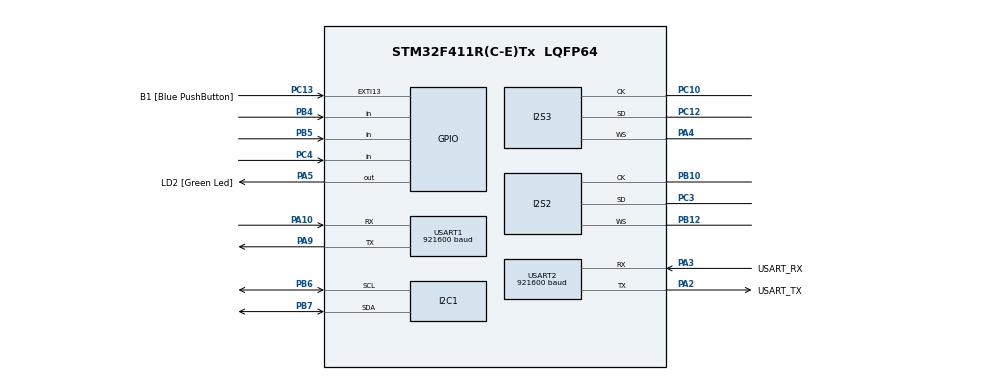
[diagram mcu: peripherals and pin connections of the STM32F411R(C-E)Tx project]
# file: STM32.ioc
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I2S2.AudioFreq=I2S_AUDIOFREQ_16K
I2S2.DataFormat=I2S_DATAFORMAT_24B
I2S2.ErrorAudioFreq=-0.26 %
I2S2.FullDuplexMode=I2S_FULLDUPLEXMODE_DISABLE
I2S2.Instance=SPI$Index
I2S2.Mode=I2S_MODE_MASTER_RX
I2S2.RealAudioFreq=15.957 KHz
I2S2.VirtualMode=I2S_MODE_MASTER
I2S3.AudioFreq=I2S_AUDIOFREQ_16K
I2S3.ErrorAudioFreq=-0.26 %
I2S3.FullDuplexMode=I2S_FULLDUPLEXMODE_DISABLE
I2S3.Instance=SPI$Index
I2S3.RealAudioFreq=15.957 KHz
I2S3.VirtualMode=I2S_MODE_MASTER
Mcu.Family=STM32F4
Mcu.Name=STM32F411R(C-E)Tx
Mcu.Package=LQFP64
NVIC.PriorityGroup=NVIC_PRIORITYGROUP_0
NVIC.USART1_IRQn=true\:0\:0\:false\:false\:true\:true\:true\:true
PA10.Mode=Asynchronous
PA10.Signal=USART1_RX
PA13.GPIO_Label=TMS
PA13.Mode=Serial_Wire
PA13.Signal=SYS_JTMS-SWDIO
PA14.GPIO_Label=TCK
PA14.Mode=Serial_Wire
PA14.Signal=SYS_JTCK-SWCLK
PA2.GPIO_Label=USART_TX
PA2.Mode=Asynchronous
PA2.Signal=USART2_TX
PA3.GPIO_Label=USART_RX
PA3.Mode=Asynchronous
PA3.Signal=USART2_RX
PA4.Mode=Half_Duplex_Master
PA4.Signal=I2S3_WS
PA5.GPIO_Label=LD2 [Green Led]
PA5.Signal=GPIO_Output
PA9.Mode=Asynchronous
PA9.Signal=USART1_TX
PB10.Mode=Half_Duplex_Master
PB10.Signal=I2S2_CK
PB12.Mode=Half_Duplex_Master
PB12.Signal=I2S2_WS
PB3.GPIO_Label=SWO
PB3.Signal=SYS_JTDO-SWO
PB4.Signal=GPIO_Input
PB5.Signal=GPIO_Input
PB6.Mode=I2C
PB6.Signal=I2C1_SCL
PB7.Mode=I2C
PB7.Signal=I2C1_SDA
PC10.Mode=Half_Duplex_Master
PC10.Signal=I2S3_CK
PC12.Mode=Half_Duplex_Master
PC12.Signal=I2S3_SD
PC13-ANTI_TAMP.GPIO_Label=B1 [Blue PushButton]
PC13-ANTI_TAMP.GPIO_ModeDefaultEXTI=GPIO_MODE_IT_FALLING
PC13-ANTI_TAMP.Signal=GPXTI13
PC14-OSC32_IN.Mode=LSE-External-Oscillator
PC14-OSC32_IN.Signal=RCC_OSC32_IN
PC15-OSC32_OUT.Mode=LSE-External-Oscillator
PC15-OSC32_OUT.Signal=RCC_OSC32_OUT
PC3.Mode=Half_Duplex_Master
PC3.Signal=I2S2_SD
PC4.Signal=GPIO_Input
PH0\ -\ OSC_IN.Mode=HSE-External-Clock-Source
PH0\ -\ OSC_IN.Signal=RCC_OSC_IN
PH1\ -\ OSC_OUT.Mode=HSE-External-Clock-Source
PH1\ -\ OSC_OUT.Signal=RCC_OSC_OUT
ProjectManager.HeapSize=0x200
ProjectManager.StackSize=0x400
ProjectManager.TargetToolchain=CMake
RCC.48MHZClocksFreq_Value=84000000
RCC.AHBFreq_Value=84000000
RCC.APB1CLKDivider=RCC_HCLK_DIV2
RCC.APB1Freq_Value=42000000
RCC.APB1TimFreq_Value=84000000
RCC.APB2Freq_Value=84000000
RCC.APB2TimFreq_Value=84000000
RCC.CortexFreq_Value=84000000
RCC.FLatency-AdvancedSettings=FLASH_LATENCY_2
RCC.HCLKFreq_Value=84000000
RCC.HSE_VALUE=8000000
RCC.HSI_VALUE=16000000
RCC.PLLN=336
RCC.PLLP=RCC_PLLP_DIV4
RCC.SYSCLKFreq_VALUE=84000000
RCC.SYSCLKSource=RCC_SYSCLKSOURCE_PLLCLK
RCC.VCOOutputFreq_Value=336000000
USART1.BaudRate=921600
USART1.VirtualMode=VM_ASYNC
USART2.BaudRate=921600
USART2.VirtualMode=VM_ASYNC
board=NUCLEO-F411RE

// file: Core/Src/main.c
/* USER CODE BEGIN Header */
/**
  ******************************************************************************
  * @file           : main.c
  * @brief          : Main program body
  *
  *  MODIFIED FOR AMP TEST:
  *  Streams raw 16-bit stereo PCM audio from a PC over USART2 straight into
  *  the MAX98357 I2S amp (hi2s3 / SPI3) via HAL_I2S_Transmit.
  *
  *  USART2 (PA2/PA3, ST-Link VCP) = binary audio link to PC - NO text/debug
  *  is ever sent on this UART, since any stray bytes would corrupt the
  *  handshake/stream protocol.
  *
  *  USART1 (PA9/PA10) = free for the ESP32 later; used here only for
  *  human-readable debug prints during bring-up.
  *
  *  Protocol (PC -> STM32, over USART2 @ 460800 8N1):
  *    1. PC sends 0xAA                         (handshake)
  *    2. STM32 replies 0x55                    (ready)
  *    3. PC sends 4 bytes little-endian uint32  (total mono sample/frame count)
  *    4. PC streams raw 16-bit STEREO interleaved PCM data,
  *       AUDIO_CHUNK_FRAMES frames per chunk (L,R,L,R,... as uint16_t each)
  *    5. STM32 replies 0x44 ('D') once all frames received/played
  ******************************************************************************
  * @attention
  *
  * Copyright (c) 2026 STMicroelectronics.
  * All rights reserved.
  *
  * This software is licensed under terms that can be found in the LICENSE file
  * in the root directory of this software component.
  * If no LICENSE file comes with this software, it is provided AS-IS.
  *
  ******************************************************************************
  */
/* USER CODE END Header */
#include "main.h"
#include "stm32f4xx_ll_usart.h"
#include "stm32f4xx_ll_utils.h"

/* USER CODE BEGIN Includes */
#include <stdint.h>
#include <stdio.h>
#include <stdbool.h>
#include <sys/_intsup.h>
/* USER CODE END Includes */

I2S_HandleTypeDef hi2s2;
I2S_HandleTypeDef hi2s3;

/* USER CODE BEGIN PV */
#define Ring_Buffer_Size   16384u
static volatile uint8_t  ringBufferRX[Ring_Buffer_Size];
static volatile uint16_t ringBufferRXPointer_RX = 0;
static volatile uint16_t ringBufferRXPointer_TX = 0;

static volatile uint8_t  ringBufferTX[Ring_Buffer_Size];
static volatile uint16_t ringBufferTXPointer_RX = 0;
static volatile uint16_t ringBufferTXPointer_TX = 0;

volatile uint32_t system_ms = 0;
/* USER CODE END PV */

void SystemClock_Config(void);
void PeriphCommonClock_Config(void);
static void MX_GPIO_Init(void);
static void MX_USART2_UART_Init(void);
static void MX_I2S2_Init(void);
static void MX_I2C1_Init(void);
static void MX_I2S3_Init(void);
static void MX_USART1_UART_Init(void);
/* USER CODE BEGIN PFP */

void UART_ISR_Handler(void);
void SYSTICK_IRQ_Handler(void);

/* USER CODE END PFP */

/* USER CODE BEGIN 0 */

//=================================== Time IRQ ========================================
void SYSTICK_IRQ_Handler(void) {
  system_ms++;
}
uint32_t millis(void)
{
  return system_ms;
}
//===================================================================================

//=================================== USART IRQ ========================================
void UART_ISR_Handler(void)
{
  if (LL_USART_IsActiveFlag_RXNE(USART1))
  {
    uint8_t data = LL_USART_ReceiveData8(USART1);
    ringBufferRX[ringBufferRXPointer_RX] = data;
    ringBufferRXPointer_RX++;
    ringBufferRXPointer_RX &= 0x3FFF;
  }

  if (LL_USART_IsActiveFlag_ORE(USART1))
  {
    LL_USART_ClearFlag_ORE(USART1);
  }
}
//===================================================================================

//=================================== Debug ========================================
void USART_SEND_CHAR (USART_TypeDef *USARTx, char *data)
{
  while (*data)
  {
      while (!LL_USART_IsActiveFlag_TXE(USARTx));   // Wait until TX buffer is empty
      LL_USART_TransmitData8(USARTx, *data++);      // Transmit next byte
  }

  while (!LL_USART_IsActiveFlag_TC(USARTx));        // Wait for final transmission to complete
}
void USART_SEND_BYTE (USART_TypeDef *USARTx, uint8_t data)
{
  LL_USART_TransmitData8(USARTx,data);
}
//===================================================================================

//================================== Buttons ========================================
uint8_t btnState = 0;
uint32_t btnDebounce[3] = {0, 0, 0};
bool CHECK_BUTTON_PRESS(GPIO_TypeDef *GPIOx, uint32_t PinMask, uint8_t btnIndex)
{
  if ((millis() - btnDebounce[btnIndex]) < 20)
    return false;

  uint8_t mask = 0x1 << btnIndex;
  bool pressed = (LL_GPIO_IsInputPinSet(GPIOx, PinMask) == 0);

  if (pressed != ((btnState & mask) != 0))
    btnDebounce[btnIndex] = millis();

  bool result = pressed && !(btnState & mask);

  if (pressed)
    btnState |= mask;
  else
    btnState &= ~mask;

  return result;
}
//===================================================================================

/* USER CODE END 0 */

int main(void)
{

  /* MCU Configuration--------------------------------------------------------*/

  /* Reset of all peripherals, Initializes the Flash interface and the Systick. */
  HAL_Init();

  /* Configure the system clock */
  SystemClock_Config();

  /* Configure the peripherals common clocks */
  PeriphCommonClock_Config();

  /* Initialize all configured peripherals */
  MX_GPIO_Init();
  MX_USART2_UART_Init();
  MX_I2S2_Init();
  MX_I2C1_Init();
  MX_I2S3_Init();
  MX_USART1_UART_Init();
  /* USER CODE BEGIN 2 */
  /* Switch USART2 to interrupt-driven RX for the audio link (see the ring
   * buffer + Audio_UART_ISR_Handler() above for why this matters). */
  LL_USART_EnableIT_RXNE(USART1);
  NVIC_SetPriority(USART1_IRQn, 0); /* highest priority - must preempt the
                                      * blocking I2S transmit busy-loop */
  NVIC_EnableIRQ(USART1_IRQn);

  // Debug_SendString("Debug UART OK - Amp streaming test ready\r\n");
  /* USER CODE END 2 */
  ringBufferRXPointer_TX = 0;
  USART_SEND_CHAR(USART2, "Hello from STM32 LL UART!\r\n");
  /* Infinite loop */
  /* USER CODE BEGIN WHILE */
  while (true)
  {
    /* USER CODE END WHILE */
    if (ringBufferRXPointer_TX != ringBufferRXPointer_RX) {
      USART_SEND_BYTE(USART2,ringBufferRX[ringBufferRXPointer_TX]);
      ringBufferRXPointer_TX++;
      ringBufferRXPointer_TX &= 0x3FFF;
    }

    if (CHECK_BUTTON_PRESS(GPIOB, LL_GPIO_PIN_4, 0)) {
      USART_SEND_CHAR(USART1, "YELLOW\n");
    }
    if (CHECK_BUTTON_PRESS(GPIOB, LL_GPIO_PIN_5,1)) {
      USART_SEND_CHAR(USART1, "BLUE\n");
    }
    if (CHECK_BUTTON_PRESS(GPIOC, LL_GPIO_PIN_4, 2)) {
      USART_SEND_CHAR(USART1, "RED\n");
    }
  }
}

void SystemClock_Config(void)
{
  LL_FLASH_SetLatency(LL_FLASH_LATENCY_2);
  while(LL_FLASH_GetLatency()!= LL_FLASH_LATENCY_2)
  {
  }
  LL_PWR_SetRegulVoltageScaling(LL_PWR_REGU_VOLTAGE_SCALE1);
  LL_RCC_HSI_SetCalibTrimming(16);
  LL_RCC_HSI_Enable();

   /* Wait till HSI is ready */
  while(LL_RCC_HSI_IsReady() != 1)
  {

  }
  LL_RCC_PLL_ConfigDomain_SYS(LL_RCC_PLLSOURCE_HSI, LL_RCC_PLLM_DIV_16, 336, LL_RCC_PLLP_DIV_4);
  LL_RCC_PLL_Enable();

   /* Wait till PLL is ready */
  while(LL_RCC_PLL_IsReady() != 1)
  {

  }
  while (LL_PWR_IsActiveFlag_VOS() == 0)
  {
  }
  LL_RCC_SetAHBPrescaler(LL_RCC_SYSCLK_DIV_1);
  LL_RCC_SetAPB1Prescaler(LL_RCC_APB1_DIV_2);
  LL_RCC_SetAPB2Prescaler(LL_RCC_APB2_DIV_1);
  LL_RCC_SetSysClkSource(LL_RCC_SYS_CLKSOURCE_PLL);

   /* Wait till System clock is ready */
  while(LL_RCC_GetSysClkSource() != LL_RCC_SYS_CLKSOURCE_STATUS_PLL)
  {

  }
  LL_SetSystemCoreClock(84000000);

   /* Update the time base */
  if (HAL_InitTick (TICK_INT_PRIORITY) != HAL_OK)
  {
    Error_Handler();
  }
  LL_RCC_SetTIMPrescaler(LL_RCC_TIM_PRESCALER_TWICE);
}

void PeriphCommonClock_Config(void)
{
  LL_RCC_PLLI2S_ConfigDomain_I2S(LL_RCC_PLLSOURCE_HSI, LL_RCC_PLLI2SM_DIV_16, 192, LL_RCC_PLLI2SR_DIV_2);
  LL_RCC_PLLI2S_Enable();

   /* Wait till PLL is ready */
  while(LL_RCC_PLLI2S_IsReady() != 1)
  {

  }
}

static void MX_I2C1_Init(void)
{

  LL_I2C_InitTypeDef I2C_InitStruct = {0};

  LL_GPIO_InitTypeDef GPIO_InitStruct = {0};

  LL_AHB1_GRP1_EnableClock(LL_AHB1_GRP1_PERIPH_GPIOB);
  /**I2C1 GPIO Configuration
  PB6   ------> I2C1_SCL
  PB7   ------> I2C1_SDA
  */
  GPIO_InitStruct.Pin = LL_GPIO_PIN_6|LL_GPIO_PIN_7;
  GPIO_InitStruct.Mode = LL_GPIO_MODE_ALTERNATE;
  GPIO_InitStruct.Speed = LL_GPIO_SPEED_FREQ_VERY_HIGH;
  GPIO_InitStruct.OutputType = LL_GPIO_OUTPUT_OPENDRAIN;
  GPIO_InitStruct.Pull = LL_GPIO_PULL_NO;
  GPIO_InitStruct.Alternate = LL_GPIO_AF_4;
  LL_GPIO_Init(GPIOB, &GPIO_InitStruct);

  /* Peripheral clock enable */
  LL_APB1_GRP1_EnableClock(LL_APB1_GRP1_PERIPH_I2C1);

  /** I2C Initialization
  */
  LL_I2C_DisableOwnAddress2(I2C1);
  LL_I2C_DisableGeneralCall(I2C1);
  LL_I2C_EnableClockStretching(I2C1);
  I2C_InitStruct.PeripheralMode = LL_I2C_MODE_I2C;
  I2C_InitStruct.ClockSpeed = 100000;
  I2C_InitStruct.DutyCycle = LL_I2C_DUTYCYCLE_2;
  I2C_InitStruct.OwnAddress1 = 0;
  I2C_InitStruct.TypeAcknowledge = LL_I2C_ACK;
  I2C_InitStruct.OwnAddrSize = LL_I2C_OWNADDRESS1_7BIT;
  LL_I2C_Init(I2C1, &I2C_InitStruct);
  LL_I2C_SetOwnAddress2(I2C1, 0);

}

static void MX_I2S2_Init(void)
{

  hi2s2.Instance = SPI2;
  hi2s2.Init.Mode = I2S_MODE_MASTER_RX;
  hi2s2.Init.Standard = I2S_STANDARD_PHILIPS;
  hi2s2.Init.DataFormat = I2S_DATAFORMAT_24B;
  hi2s2.Init.MCLKOutput = I2S_MCLKOUTPUT_DISABLE;
  hi2s2.Init.AudioFreq = I2S_AUDIOFREQ_16K;
  hi2s2.Init.CPOL = I2S_CPOL_LOW;
  hi2s2.Init.ClockSource = I2S_CLOCK_PLL;
  hi2s2.Init.FullDuplexMode = I2S_FULLDUPLEXMODE_DISABLE;
  if (HAL_I2S_Init(&hi2s2) != HAL_OK)
  {
    Error_Handler();
  }

}

static void MX_I2S3_Init(void)
{

  hi2s3.Instance = SPI3;
  hi2s3.Init.Mode = I2S_MODE_MASTER_TX;
  hi2s3.Init.Standard = I2S_STANDARD_PHILIPS;
  hi2s3.Init.DataFormat = I2S_DATAFORMAT_16B;
  hi2s3.Init.MCLKOutput = I2S_MCLKOUTPUT_DISABLE;
  hi2s3.Init.AudioFreq = I2S_AUDIOFREQ_16K;
  hi2s3.Init.CPOL = I2S_CPOL_LOW;
  hi2s3.Init.ClockSource = I2S_CLOCK_PLL;
  hi2s3.Init.FullDuplexMode = I2S_FULLDUPLEXMODE_DISABLE;
  if (HAL_I2S_Init(&hi2s3) != HAL_OK)
  {
    Error_Handler();
  }

}

static void MX_USART1_UART_Init(void)
{

  LL_USART_InitTypeDef USART_InitStruct = {0};

  LL_GPIO_InitTypeDef GPIO_InitStruct = {0};

  /* Peripheral clock enable */
  LL_APB2_GRP1_EnableClock(LL_APB2_GRP1_PERIPH_USART1);

  LL_AHB1_GRP1_EnableClock(LL_AHB1_GRP1_PERIPH_GPIOA);
  /**USART1 GPIO Configuration
  PA9   ------> USART1_TX
  PA10   ------> USART1_RX
  */
  GPIO_InitStruct.Pin = LL_GPIO_PIN_9|LL_GPIO_PIN_10;
  GPIO_InitStruct.Mode = LL_GPIO_MODE_ALTERNATE;
  GPIO_InitStruct.Speed = LL_GPIO_SPEED_FREQ_VERY_HIGH;
  GPIO_InitStruct.OutputType = LL_GPIO_OUTPUT_PUSHPULL;
  GPIO_InitStruct.Pull = LL_GPIO_PULL_NO;
  GPIO_InitStruct.Alternate = LL_GPIO_AF_7;
  LL_GPIO_Init(GPIOA, &GPIO_InitStruct);

  /* USART1 interrupt Init */
  NVIC_SetPriority(USART1_IRQn, NVIC_EncodePriority(NVIC_GetPriorityGrouping(),0, 0));
  NVIC_EnableIRQ(USART1_IRQn);

  USART_InitStruct.BaudRate = 921600;
  USART_InitStruct.DataWidth = LL_USART_DATAWIDTH_8B;
  USART_InitStruct.StopBits = LL_USART_STOPBITS_1;
  USART_InitStruct.Parity = LL_USART_PARITY_NONE;
  USART_InitStruct.TransferDirection = LL_USART_DIRECTION_TX_RX;
  USART_InitStruct.HardwareFlowControl = LL_USART_HWCONTROL_NONE;
  USART_InitStruct.OverSampling = LL_USART_OVERSAMPLING_16;
  LL_USART_Init(USART1, &USART_InitStruct);
  LL_USART_ConfigAsyncMode(USART1);
  LL_USART_Enable(USART1);

}

static void MX_USART2_UART_Init(void)
{

  LL_USART_InitTypeDef USART_InitStruct = {0};

  LL_GPIO_InitTypeDef GPIO_InitStruct = {0};

  /* Peripheral clock enable */
  LL_APB1_GRP1_EnableClock(LL_APB1_GRP1_PERIPH_USART2);

  LL_AHB1_GRP1_EnableClock(LL_AHB1_GRP1_PERIPH_GPIOA);
  /**USART2 GPIO Configuration
  PA2   ------> USART2_TX
  PA3   ------> USART2_RX
  */
  GPIO_InitStruct.Pin = USART_TX_Pin|USART_RX_Pin;
  GPIO_InitStruct.Mode = LL_GPIO_MODE_ALTERNATE;
  GPIO_InitStruct.Speed = LL_GPIO_SPEED_FREQ_VERY_HIGH;
  GPIO_InitStruct.OutputType = LL_GPIO_OUTPUT_PUSHPULL;
  GPIO_InitStruct.Pull = LL_GPIO_PULL_NO;
  GPIO_InitStruct.Alternate = LL_GPIO_AF_7;
  LL_GPIO_Init(GPIOA, &GPIO_InitStruct);

  USART_InitStruct.BaudRate = 921600;
  USART_InitStruct.DataWidth = LL_USART_DATAWIDTH_8B;
  USART_InitStruct.StopBits = LL_USART_STOPBITS_1;
  USART_InitStruct.Parity = LL_USART_PARITY_NONE;
  USART_InitStruct.TransferDirection = LL_USART_DIRECTION_TX_RX;
  USART_InitStruct.HardwareFlowControl = LL_USART_HWCONTROL_NONE;
  USART_InitStruct.OverSampling = LL_USART_OVERSAMPLING_16;
  LL_USART_Init(USART2, &USART_InitStruct);
  LL_USART_ConfigAsyncMode(USART2);
  LL_USART_Enable(USART2);

}

static void MX_GPIO_Init(void)
{
  LL_EXTI_InitTypeDef EXTI_InitStruct = {0};
  LL_GPIO_InitTypeDef GPIO_InitStruct = {0};

  /* GPIO Ports Clock Enable */
  LL_AHB1_GRP1_EnableClock(LL_AHB1_GRP1_PERIPH_GPIOC);
  LL_AHB1_GRP1_EnableClock(LL_AHB1_GRP1_PERIPH_GPIOH);
  LL_AHB1_GRP1_EnableClock(LL_AHB1_GRP1_PERIPH_GPIOA);
  LL_AHB1_GRP1_EnableClock(LL_AHB1_GRP1_PERIPH_GPIOB);

  /**/
  LL_GPIO_ResetOutputPin(LD2_GPIO_Port, LD2_Pin);

  /**/
  LL_SYSCFG_SetEXTISource(LL_SYSCFG_EXTI_PORTC, LL_SYSCFG_EXTI_LINE13);

  /**/
  EXTI_InitStruct.Line_0_31 = LL_EXTI_LINE_13;
  EXTI_InitStruct.LineCommand = ENABLE;
  EXTI_InitStruct.Mode = LL_EXTI_MODE_IT;
  EXTI_InitStruct.Trigger = LL_EXTI_TRIGGER_FALLING;
  LL_EXTI_Init(&EXTI_InitStruct);

  /**/
  LL_GPIO_SetPinPull(B1_GPIO_Port, B1_Pin, LL_GPIO_PULL_NO);

  /**/
  LL_GPIO_SetPinMode(B1_GPIO_Port, B1_Pin, LL_GPIO_MODE_INPUT);

  /**/
  GPIO_InitStruct.Pin = LD2_Pin;
  GPIO_InitStruct.Mode = LL_GPIO_MODE_OUTPUT;
  GPIO_InitStruct.Speed = LL_GPIO_SPEED_FREQ_LOW;
  GPIO_InitStruct.OutputType = LL_GPIO_OUTPUT_PUSHPULL;
  GPIO_InitStruct.Pull = LL_GPIO_PULL_NO;
  LL_GPIO_Init(LD2_GPIO_Port, &GPIO_InitStruct);

  /**/
  GPIO_InitStruct.Pin = LL_GPIO_PIN_4;
  GPIO_InitStruct.Mode = LL_GPIO_MODE_INPUT;
  GPIO_InitStruct.Pull = LL_GPIO_PULL_NO;
  LL_GPIO_Init(GPIOC, &GPIO_InitStruct);

  /**/
  GPIO_InitStruct.Pin = LL_GPIO_PIN_4|LL_GPIO_PIN_5;
  GPIO_InitStruct.Mode = LL_GPIO_MODE_INPUT;
  GPIO_InitStruct.Pull = LL_GPIO_PULL_NO;
  LL_GPIO_Init(GPIOB, &GPIO_InitStruct);

}

void Error_Handler(void)
{
  __disable_irq();
  while (1)
  {
  }
}
